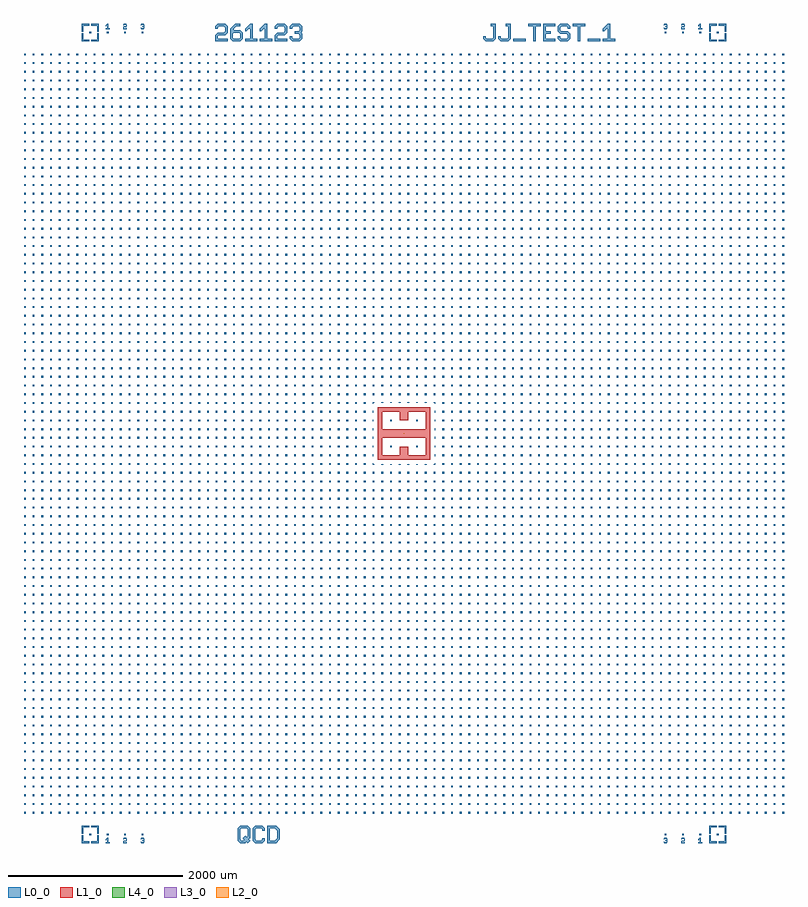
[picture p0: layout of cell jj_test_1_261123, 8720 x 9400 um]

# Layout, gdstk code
import gdstk
lib = gdstk.Library(unit=1e-6, precision=1e-09)
def R(c, l, rs):  # rectangles x0, y0, x1, y1
    for r in rs: c.add(gdstk.rectangle(r[:2], r[2:], *l))
def A(c, l, x, y, w, h, nx, ny, dx, dy):  # array of equal rectangles
    R(c, l, [(x+i*dx, y+j*dy, x+i*dx+w, y+j*dy+h) for i in range(nx) for j in range(ny)])
def P(c, l, *ps):  # polygons
    for p in ps: c.add(gdstk.Polygon(p, *l))
L0_0 = (0, 0)
L1_0 = (1, 0)
L2_0 = (2, 0)
L3_0 = (3, 0)
L4_0 = (4, 0)

jj_test_1_261123 = lib.new_cell('jj_test_1_261123')
A(jj_test_1_261123, L0_0, -3610, -4610, 20, 20, 4, 2, 200, 9200)
A(jj_test_1_261123, L0_0, 2990, -4610, 20, 20, 4, 2, 200, 9200)
A(jj_test_1_261123, L0_0, -4360, -4360, 20, 20, 88, 40, 100, 100)
A(jj_test_1_261123, L0_0, -4360, -360, 20, 20, 40, 8, 100, 100)
A(jj_test_1_261123, L0_0, -260, -360, 20, 10, 6, 2, 100, 710)
A(jj_test_1_261123, L0_0, 440, -360, 20, 20, 40, 2, 100, 100)
A(jj_test_1_261123, L0_0, -360, -260, 10, 20, 1, 6, 0, 100)
A(jj_test_1_261123, L0_0, 350, -260, 10, 20, 1, 6, 0, 100)
A(jj_test_1_261123, L0_0, -160, -160, 20, 20, 3, 2, 300, 300)
A(jj_test_1_261123, L0_0, 540, -160, 20, 20, 39, 2, 100, 300)
A(jj_test_1_261123, L0_0, 440, -60, 20, 20, 40, 2, 100, 100)
A(jj_test_1_261123, L0_0, 440, 240, 20, 20, 40, 2, 100, 100)
A(jj_test_1_261123, L0_0, -4360, 440, 20, 20, 88, 40, 100, 100)
R(jj_test_1_261123, L0_0, [(1252.381,4500,1395.238,4528.571), (2109.523,4500,2252.38,4528.571)])
P(jj_test_1_261123, L0_0, [(3610,4500),(3610,4520),(3680,4520),(3680,4590),(3700,4590),(3700,4500)],
  [(3680,4610),(3680,4680),(3610,4680),(3610,4700),(3700,4700),(3700,4610)],
  [(3500,4610),(3500,4700),(3590,4700),(3590,4680),(3520,4680),(3520,4610)],
  [(3500,4500),(3500,4590),(3520,4590),(3520,4520),(3590,4520),(3590,4500)],
  [(3378.572,4640),(3378.572,4648.571),(3395.715,4648.571),(3395.715,4682.857),(3391.429,4682.857),(3382.858,4674.286),(3378.572,4674.286),(3378.572,4682.857),(3395.715,4700),(3404.286,4700),(3404.286,4648.571),(3421.429,4648.571),(3421.429,4640)],
  [(3178.572,4640),(3178.572,4661.429),(3187.143,4670),(3208.572,4670),(3212.858,4674.286),(3212.858,4687.143),(3208.572,4691.429),(3191.429,4691.429),(3187.143,4687.143),(3187.143,4682.857),(3178.572,4682.857),(3178.572,4691.429),(3187.143,4700),(3212.858,4700),(3221.429,4691.429),(3221.429,4670),(3212.858,4661.429),(3191.429,4661.429),(3187.143,4657.143),(3187.143,4648.571),(3221.429,4648.571),(3221.429,4640)],
  [(2987.143,4640),(2978.572,4648.571),(2978.572,4657.143),(2987.143,4657.143),(2987.143,4652.857),(2991.429,4648.571),(3008.572,4648.571),(3012.858,4652.857),(3012.858,4661.429),(3008.572,4665.714),(2995.715,4665.714),(2995.715,4674.286),(3008.572,4674.286),(3012.858,4678.571),(3012.858,4687.143),(3008.572,4691.429),(2991.429,4691.429),(2987.143,4687.143),(2987.143,4682.857),(2978.572,4682.857),(2978.572,4691.429),(2987.143,4700),(3012.858,4700),(3021.429,4691.429),(3021.429,4674.286),(3017.143,4670),(3021.429,4665.714),(3021.429,4648.571),(3012.858,4640)],
  [(2280.952,4500),(2280.952,4528.571),(2338.095,4528.571),(2338.095,4642.857),(2323.809,4642.857),(2295.238,4614.286),(2280.952,4614.286),(2280.952,4642.857),(2338.095,4700),(2366.666,4700),(2366.666,4528.571),(2423.809,4528.571),(2423.809,4500)],
  [(1109.524,4500),(1080.953,4528.571),(1080.953,4557.143),(1109.524,4557.143),(1109.524,4542.857),(1123.81,4528.571),(1180.953,4528.571),(1195.239,4542.857),(1195.239,4671.428),(1166.667,4671.428),(1166.667,4700),(1223.81,4700),(1223.81,4528.571),(1195.239,4500)],
  [(1595.238,4500),(1595.238,4700),(1738.095,4700),(1738.095,4671.428),(1623.809,4671.428),(1623.809,4614.286),(1680.952,4614.286),(1680.952,4585.714),(1623.809,4585.714),(1623.809,4528.571),(1738.095,4528.571),(1738.095,4500)],
  [(1995.238,4500),(1995.238,4671.428),(1938.095,4671.428),(1938.095,4700),(2080.952,4700),(2080.952,4671.428),(2023.809,4671.428),(2023.809,4500)],
  [(1795.238,4500),(1766.667,4528.571),(1766.667,4557.143),(1795.238,4557.143),(1795.238,4542.857),(1809.524,4528.571),(1866.667,4528.571),(1880.953,4542.857),(1880.953,4571.429),(1866.667,4585.714),(1795.238,4585.714),(1766.667,4614.286),(1766.667,4671.428),(1795.238,4700),(1880.953,4700),(1909.524,4671.428),(1909.524,4642.857),(1880.953,4642.857),(1880.953,4657.143),(1866.667,4671.428),(1809.524,4671.428),(1795.238,4657.143),(1795.238,4628.571),(1809.524,4614.286),(1880.953,4614.286),(1909.524,4585.714),(1909.524,4528.571),(1880.953,4500)],
  [(1480.953,4500),(1480.953,4671.428),(1423.81,4671.428),(1423.81,4700),(1566.667,4700),(1566.667,4671.428),(1509.524,4671.428),(1509.524,4500)],
  [(938.096,4500),(909.525,4528.571),(909.525,4557.143),(938.096,4557.143),(938.096,4542.857),(952.382,4528.571),(1009.525,4528.571),(1023.811,4542.857),(1023.811,4671.428),(995.239,4671.428),(995.239,4700),(1052.382,4700),(1052.382,4528.571),(1023.811,4500)],
  [(350,340),(350,350),(340,350),(340,360),(360,360),(360,340)],
  [(-1652.381,4500),(-1652.381,4528.571),(-1595.238,4528.571),(-1595.238,4642.857),(-1609.524,4642.857),(-1638.095,4614.286),(-1652.381,4614.286),(-1652.381,4642.857),(-1595.238,4700),(-1566.667,4700),(-1566.667,4528.571),(-1509.524,4528.571),(-1509.524,4500)],
  [(-1480.953,4500),(-1480.953,4571.429),(-1452.382,4600),(-1380.953,4600),(-1366.667,4614.286),(-1366.667,4657.143),(-1380.953,4671.428),(-1438.096,4671.428),(-1452.382,4657.143),(-1452.382,4642.857),(-1480.953,4642.857),(-1480.953,4671.428),(-1452.382,4700),(-1366.667,4700),(-1338.096,4671.428),(-1338.096,4600),(-1366.667,4571.429),(-1438.096,4571.429),(-1452.382,4557.143),(-1452.382,4528.571),(-1338.096,4528.571),(-1338.096,4500)],
  [(-1280.953,4500),(-1309.524,4528.571),(-1309.524,4557.143),(-1280.953,4557.143),(-1280.953,4542.857),(-1266.667,4528.571),(-1209.524,4528.571),(-1195.238,4542.857),(-1195.238,4571.429),(-1209.524,4585.714),(-1252.381,4585.714),(-1252.381,4614.286),(-1209.524,4614.286),(-1195.238,4628.571),(-1195.238,4657.143),(-1209.524,4671.428),(-1266.667,4671.428),(-1280.953,4657.143),(-1280.953,4642.857),(-1309.524,4642.857),(-1309.524,4671.428),(-1280.953,4700),(-1195.238,4700),(-1166.667,4671.428),(-1166.667,4614.286),(-1180.953,4600),(-1166.667,4585.714),(-1166.667,4528.571),(-1195.238,4500)],
  [(-2166.666,4500),(-2166.666,4571.429),(-2138.095,4600),(-2066.666,4600),(-2052.38,4614.286),(-2052.38,4657.143),(-2066.666,4671.428),(-2123.809,4671.428),(-2138.095,4657.143),(-2138.095,4642.857),(-2166.666,4642.857),(-2166.666,4671.428),(-2138.095,4700),(-2052.38,4700),(-2023.809,4671.428),(-2023.809,4600),(-2052.38,4571.429),(-2123.809,4571.429),(-2138.095,4557.143),(-2138.095,4528.571),(-2023.809,4528.571),(-2023.809,4500)],
  [(-1966.667,4500),(-1995.238,4528.571),(-1995.238,4642.857),(-1938.095,4700),(-1880.952,4700),(-1880.952,4671.428),(-1923.809,4671.428),(-1952.381,4642.857),(-1952.381,4628.571),(-1880.952,4628.571),(-1852.381,4600),(-1952.381,4600),(-1966.667,4585.714),(-1966.667,4542.857),(-1952.381,4528.571),(-1895.238,4528.571),(-1880.952,4542.857),(-1880.952,4585.714),(-1895.238,4600),(-1852.381,4600),(-1852.381,4528.571),(-1880.952,4500)],
  [(-1823.809,4500),(-1823.809,4528.571),(-1766.666,4528.571),(-1766.666,4642.857),(-1780.952,4642.857),(-1809.523,4614.286),(-1823.809,4614.286),(-1823.809,4642.857),(-1766.666,4700),(-1738.095,4700),(-1738.095,4528.571),(-1680.952,4528.571),(-1680.952,4500)],
  [(-3012.858,4640),(-3021.429,4648.571),(-3021.429,4657.143),(-3012.858,4657.143),(-3012.858,4652.857),(-3008.572,4648.571),(-2991.429,4648.571),(-2987.143,4652.857),(-2987.143,4661.429),(-2991.429,4665.714),(-3004.286,4665.714),(-3004.286,4674.286),(-2991.429,4674.286),(-2987.143,4678.571),(-2987.143,4687.143),(-2991.429,4691.429),(-3008.572,4691.429),(-3012.858,4687.143),(-3012.858,4682.857),(-3021.429,4682.857),(-3021.429,4691.429),(-3012.858,4700),(-2987.143,4700),(-2978.572,4691.429),(-2978.572,4674.286),(-2982.858,4670),(-2978.572,4665.714),(-2978.572,4648.571),(-2987.143,4640)],
  [(-3221.429,4640),(-3221.429,4661.429),(-3212.858,4670),(-3191.429,4670),(-3187.143,4674.286),(-3187.143,4687.143),(-3191.429,4691.429),(-3208.572,4691.429),(-3212.858,4687.143),(-3212.858,4682.857),(-3221.429,4682.857),(-3221.429,4691.429),(-3212.858,4700),(-3187.143,4700),(-3178.572,4691.429),(-3178.572,4670),(-3187.143,4661.429),(-3208.572,4661.429),(-3212.858,4657.143),(-3212.858,4648.571),(-3178.572,4648.571),(-3178.572,4640)],
  [(-3700,4610),(-3700,4700),(-3610,4700),(-3610,4680),(-3680,4680),(-3680,4610)],
  [(-3520,4610),(-3520,4680),(-3590,4680),(-3590,4700),(-3500,4700),(-3500,4610)],
  [(-3421.429,4640),(-3421.429,4648.571),(-3404.286,4648.571),(-3404.286,4682.857),(-3408.572,4682.857),(-3417.143,4674.286),(-3421.429,4674.286),(-3421.429,4682.857),(-3404.286,4700),(-3395.715,4700),(-3395.715,4648.571),(-3378.572,4648.571),(-3378.572,4640)],
  [(-3590,4500),(-3590,4520),(-3520,4520),(-3520,4590),(-3500,4590),(-3500,4500)],
  [(-3700,4500),(-3700,4590),(-3680,4590),(-3680,4520),(-3610,4520),(-3610,4500)],
  [(-360,340),(-360,360),(-340,360),(-340,350),(-350,350),(-350,340)],
  [(-360,-360),(-360,-340),(-350,-340),(-350,-350),(-340,-350),(-340,-360)],
  [(-3520,-4590),(-3520,-4520),(-3590,-4520),(-3590,-4500),(-3500,-4500),(-3500,-4590)],
  [(-3421.429,-4700),(-3421.429,-4691.429),(-3404.286,-4691.429),(-3404.286,-4657.143),(-3408.572,-4657.143),(-3417.143,-4665.714),(-3421.429,-4665.714),(-3421.429,-4657.143),(-3404.286,-4640),(-3395.715,-4640),(-3395.715,-4691.429),(-3378.572,-4691.429),(-3378.572,-4700)],
  [(-3590,-4700),(-3590,-4680),(-3520,-4680),(-3520,-4610),(-3500,-4610),(-3500,-4700)],
  [(-3700,-4590),(-3700,-4500),(-3610,-4500),(-3610,-4520),(-3680,-4520),(-3680,-4590)],
  [(-3700,-4700),(-3700,-4610),(-3680,-4610),(-3680,-4680),(-3610,-4680),(-3610,-4700)],
  [(-3221.429,-4700),(-3221.429,-4678.571),(-3212.858,-4670),(-3191.429,-4670),(-3187.143,-4665.714),(-3187.143,-4652.857),(-3191.429,-4648.571),(-3208.572,-4648.571),(-3212.858,-4652.857),(-3212.858,-4657.143),(-3221.429,-4657.143),(-3221.429,-4648.571),(-3212.858,-4640),(-3187.143,-4640),(-3178.572,-4648.571),(-3178.572,-4670),(-3187.143,-4678.571),(-3208.572,-4678.571),(-3212.858,-4682.857),(-3212.858,-4691.429),(-3178.572,-4691.429),(-3178.572,-4700)],
  [(-3012.858,-4700),(-3021.429,-4691.429),(-3021.429,-4682.857),(-3012.858,-4682.857),(-3012.858,-4687.143),(-3008.572,-4691.429),(-2991.429,-4691.429),(-2987.143,-4687.143),(-2987.143,-4678.571),(-2991.429,-4674.286),(-3004.286,-4674.286),(-3004.286,-4665.714),(-2991.429,-4665.714),(-2987.143,-4661.429),(-2987.143,-4652.857),(-2991.429,-4648.571),(-3008.572,-4648.571),(-3012.858,-4652.857),(-3012.858,-4657.143),(-3021.429,-4657.143),(-3021.429,-4648.571),(-3012.858,-4640),(-2987.143,-4640),(-2978.572,-4648.571),(-2978.572,-4665.714),(-2982.858,-4670),(-2978.572,-4674.286),(-2978.572,-4691.429),(-2987.143,-4700)],
  [(-1709.524,-4700),(-1738.095,-4671.429),(-1738.095,-4528.572),(-1709.524,-4500),(-1623.809,-4500),(-1595.238,-4528.572),(-1595.238,-4557.143),(-1623.809,-4557.143),(-1623.809,-4542.857),(-1638.095,-4528.572),(-1695.238,-4528.572),(-1709.524,-4542.857),(-1709.524,-4657.143),(-1695.238,-4671.429),(-1638.095,-4671.429),(-1623.809,-4657.143),(-1623.809,-4642.857),(-1595.238,-4642.857),(-1595.238,-4671.429),(-1623.809,-4700)],
  [(-1880.953,-4700),(-1909.524,-4671.429),(-1909.524,-4528.572),(-1880.953,-4500),(-1795.238,-4500),(-1766.667,-4528.572),(-1866.667,-4528.572),(-1880.953,-4542.857),(-1880.953,-4657.143),(-1866.667,-4671.429),(-1838.095,-4671.429),(-1838.095,-4657.143),(-1852.381,-4642.857),(-1823.81,-4614.286),(-1809.524,-4628.571),(-1795.238,-4628.571),(-1795.238,-4542.857),(-1809.524,-4528.572),(-1766.667,-4528.572),(-1766.667,-4642.857),(-1780.953,-4657.143),(-1766.667,-4671.429),(-1795.238,-4700),(-1809.524,-4685.714),(-1823.81,-4700)],
  [(-1566.667,-4700),(-1566.667,-4500),(-1466.667,-4500),(-1438.096,-4528.572),(-1538.096,-4528.572),(-1538.096,-4671.429),(-1480.953,-4671.429),(-1452.381,-4642.857),(-1452.381,-4557.143),(-1480.953,-4528.572),(-1438.096,-4528.572),(-1423.81,-4542.857),(-1423.81,-4657.143),(-1466.667,-4700)],
  [(340,-360),(340,-350),(350,-350),(350,-340),(360,-340),(360,-360)],
  [(3178.572,-4700),(3178.572,-4678.571),(3187.143,-4670),(3208.572,-4670),(3212.858,-4665.714),(3212.858,-4652.857),(3208.572,-4648.571),(3191.429,-4648.571),(3187.143,-4652.857),(3187.143,-4657.143),(3178.572,-4657.143),(3178.572,-4648.571),(3187.143,-4640),(3212.858,-4640),(3221.429,-4648.571),(3221.429,-4670),(3212.858,-4678.571),(3191.429,-4678.571),(3187.143,-4682.857),(3187.143,-4691.429),(3221.429,-4691.429),(3221.429,-4700)],
  [(2987.143,-4700),(2978.572,-4691.429),(2978.572,-4682.857),(2987.143,-4682.857),(2987.143,-4687.143),(2991.429,-4691.429),(3008.572,-4691.429),(3012.858,-4687.143),(3012.858,-4678.571),(3008.572,-4674.286),(2995.715,-4674.286),(2995.715,-4665.714),(3008.572,-4665.714),(3012.858,-4661.429),(3012.858,-4652.857),(3008.572,-4648.571),(2991.429,-4648.571),(2987.143,-4652.857),(2987.143,-4657.143),(2978.572,-4657.143),(2978.572,-4648.571),(2987.143,-4640),(3012.858,-4640),(3021.429,-4648.571),(3021.429,-4665.714),(3017.143,-4670),(3021.429,-4674.286),(3021.429,-4691.429),(3012.858,-4700)],
  [(3500,-4700),(3500,-4610),(3520,-4610),(3520,-4680),(3590,-4680),(3590,-4700)],
  [(3680,-4590),(3680,-4520),(3610,-4520),(3610,-4500),(3700,-4500),(3700,-4590)],
  [(3610,-4700),(3610,-4680),(3680,-4680),(3680,-4610),(3700,-4610),(3700,-4700)],
  [(3378.572,-4700),(3378.572,-4691.429),(3395.715,-4691.429),(3395.715,-4657.143),(3391.429,-4657.143),(3382.858,-4665.714),(3378.572,-4665.714),(3378.572,-4657.143),(3395.715,-4640),(3404.286,-4640),(3404.286,-4691.429),(3421.429,-4691.429),(3421.429,-4700)],
  [(3500,-4590),(3500,-4500),(3590,-4500),(3590,-4520),(3520,-4520),(3520,-4590)])
R(jj_test_1_261123, L1_0, [(-250,-50,-5,50), (5,-50,250,50)])
P(jj_test_1_261123, L1_0, [(-300,-300),(-300,250),(-250,250),(-250,-250),(-50,-250),(-50,-150),(50,-150),(50,-250),(250,-250),(250,250),(50,250),(50,150),(-50,150),(-50,250),(-300,250),(-300,300),(300,300),(300,-300)],
  [(-5,-5),(-5,5),(1.1,5),(1.1,1.6),(4.1,1.6),(4.1,5),(5,5),(5,-5),(-1.1,-5),(-1.1,-0.6),(-4.1,-0.6),(-4.1,-5)])
R(jj_test_1_261123, L2_0, [(0.4,-1.1,0.6,2.6), (-2.1,-0.1,1.6,0.1)])
R(jj_test_1_261123, L3_0, [(0.3,-1.9,0.7,-0.9), (-2.9,-0.2,-1.9,0.2), (1.4,-0.2,2.4,0.2), (0.3,2.4,0.7,3.4)])
R(jj_test_1_261123, L4_0, [(-2.6,-2.1,-1.1,0.6), (-0.1,1.6,2.6,3.1)])

lib.write_gds('jj_test_1_261123.gds')
